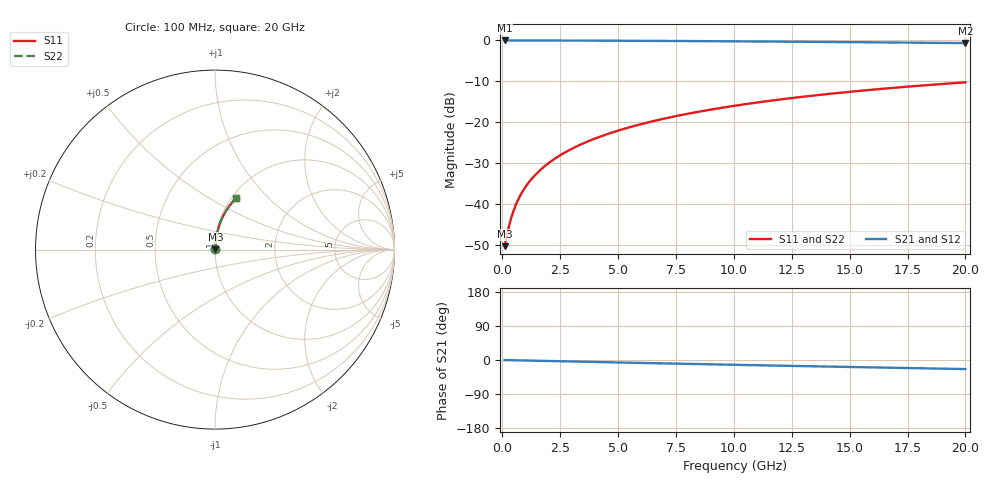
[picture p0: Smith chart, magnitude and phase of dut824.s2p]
! Touchstone file exported from HFSS 2024.1.0
!  File:  C:/UserFiles/LocalFiles/RDL_TSV_Batchsim/temp_RDL_bottom_824_1779862920.aedt
!  Generated:  02:24:59 PM May 27, 2026
!  Design:  RDL_bottom
!  Project:  temp_RDL_bottom_824_1779862920
!  Setup:  Setup1
!  Solution:  Sweep
! Variables:
!  dtsv = 10.80580581um
!  hbump = 3um
!  htsv = 87.84um
!  ldown = 255.34um
!  lrdl = 100um
!  p = 40
!  p1 = 51.66um
!  rhole = 1um
!  t = 450um
!  tdown = 2.92um
!  trdl = 3.915915916um
!  wdown = 12.69um
!  wrdl = 20um
# GHz S MA R 50.000000
! Terminal data exported
! Port[1] = RDL1_T1
! Port[2] = RDL1_T2
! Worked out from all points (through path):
!   200 points, 100 MHz to 20 GHz, reference 50 ohm
!   highest |S21| = -0.02 dB at 100 MHz (marker M1); lowest = -0.7 dB at 20 GHz (marker M2)
!   group delay of S21, straight-line fit = 3.31 ps
!   lowest |S11| = -50.2 dB at 100 MHz (marker M3), VSWR 1.01, Z = 50.3 + j0.164 ohm
!   |S11| at or under -10 dB: start of sweep to end of sweep
!   |S22| runs from -50.2 to -10.2 dB; largest |S21 - S12| = 3.2e-15
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0.1  0.003087 32.0  0.9974 -0.1  0.9974 -0.1  0.003087 32.0
! Gamma 0 0 0 0
! Port Impedance 50 0 50 0
0.2  0.004202 50.9  0.9973 -0.3  0.9973 -0.3  0.004202 50.9
0.3  0.005576 61.1  0.9973 -0.4  0.9973 -0.4  0.005576 61.1
0.4  0.007048 67.0  0.9972 -0.5  0.9972 -0.5  0.007048 67.0
0.5  0.008562 70.8  0.9972 -0.7  0.9972 -0.7  0.008562 70.8
0.6  0.01009 73.4  0.9971 -0.8  0.9971 -0.8  0.01009 73.4
0.8  0.01317 76.7  0.9969 -1.1  0.9969 -1.1  0.01318 76.7
1.1  0.01782 79.5  0.9967 -1.5  0.9967 -1.5  0.01782 79.5
1.5  0.02403 81.5  0.9963 -2.0  0.9963 -2.0  0.02403 81.5
1.8  0.02871 82.3  0.996 -2.4  0.996 -2.4  0.02871 82.3
2.1  0.03341 82.9  0.9957 -2.8  0.9957 -2.8  0.03341 82.9
2.7  0.04283 83.4  0.9948 -3.5  0.9948 -3.5  0.04283 83.4
3.5  0.05545 83.6  0.9934 -4.6  0.9934 -4.6  0.05545 83.6
4.2  0.06654 83.4  0.992 -5.5  0.992 -5.5  0.06654 83.4
5  0.07925 83.0  0.99 -6.5  0.99 -6.5  0.07925 83.0
5.9  0.09359 82.5  0.9876 -7.6  0.9876 -7.6  0.09359 82.5
6.8  0.1079 81.7  0.9848 -8.8  0.9848 -8.8  0.1079 81.7
8.3  0.1319 80.4  0.9797 -10.6  0.9797 -10.6  0.1319 80.4
10.1  0.1604 78.6  0.9729 -12.8  0.9729 -12.8  0.1604 78.6
13.4  0.2116 75.0  0.9589 -16.6  0.9589 -16.6  0.2116 75.0
16.7  0.2608 71.4  0.9433 -20.3  0.9433 -20.3  0.2608 71.4
20  0.3075 67.8  0.9264 -23.9  0.9264 -23.9  0.3075 67.8
